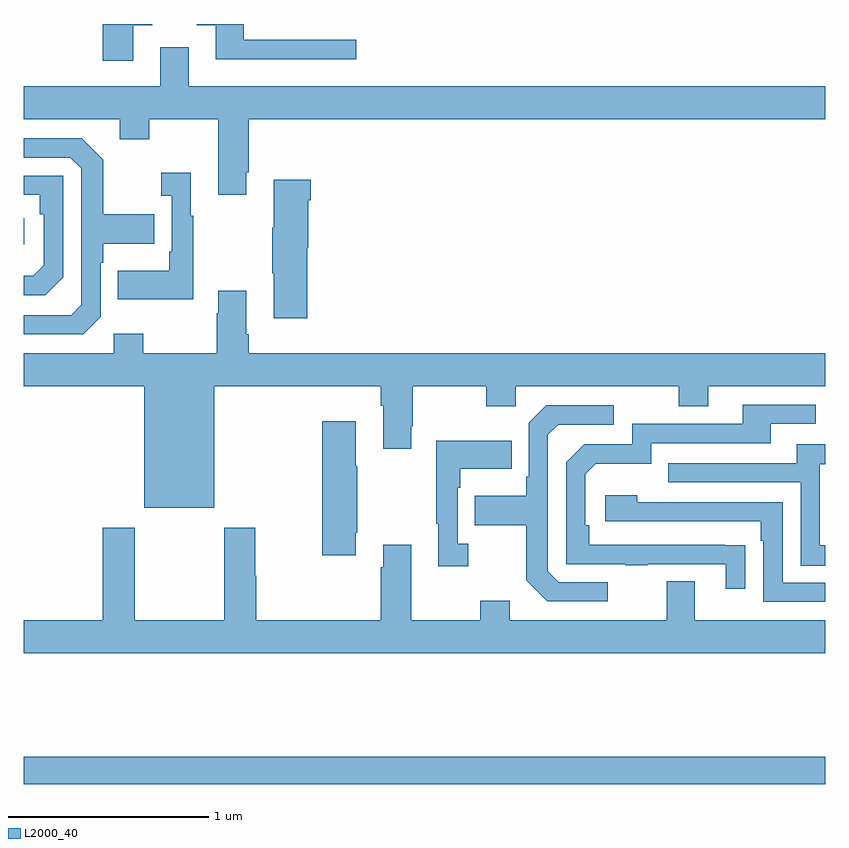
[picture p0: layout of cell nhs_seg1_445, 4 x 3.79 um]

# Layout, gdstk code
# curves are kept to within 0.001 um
import gdstk
lib = gdstk.Library(unit=1e-6, precision=1e-09)
def R(c, l, rs):  # rectangles x0, y0, x1, y1
    for r in rs: c.add(gdstk.rectangle(r[:2], r[2:], *l))
def P(c, l, *ps):  # polygons
    for p in ps: c.add(gdstk.Polygon(p, *l))
L2000_40 = (2000, 40)

nhs_seg1_445 = lib.new_cell('nhs_seg1_445')
R(nhs_seg1_445, L2000_40, [(135,556.408,139,556.544), (135,559.1,135.004,559.23)])
P(nhs_seg1_445, L2000_40, [(136.66,560.121),(136.099,560.121),(136.099,560.199),(135.863,560.199),(135.863,560.193),(135.959,560.193),(135.959,560.024),(136.66,560.024)],
  [(135.547,560.193),(135.643,560.193),(135.643,560.199),(135.395,560.199),(135.395,560.016),(135.547,560.016)],
  [(136.111,559.459),(136.124,559.459),(136.124,559.724),(139,559.724),(139,559.888),(135.823,559.888),(135.823,560.083),(135.683,560.083),(135.683,559.888),(135,559.888),(135,559.724),(135.479,559.724),(135.479,559.625),(135.627,559.625),(135.627,559.724),(135.971,559.724),(135.971,559.347),(136.111,559.347)],
  [(135.384,558.738),(135.384,559.007),(135.397,559.007),(135.397,559.103),(135.653,559.103),(135.653,559.251),(135.397,559.251),(135.397,559.523),(135.291,559.629),(135,559.629),(135,559.533),(135.234,559.533),(135.288,559.479),(135.288,558.798),(135.237,558.747),(135,558.747),(135,558.651),(135.297,558.651)],
  [(135.847,559.243),(135.835,559.243),(135.835,559.456),(135.687,559.456),(135.687,559.343),(135.738,559.343),(135.738,559.063),(135.726,559.063),(135.726,558.967),(135.469,558.967),(135.469,558.827),(135.847,558.827)],
  [(135.198,558.936),(135.198,559.443),(135,559.443),(135,559.347),(135.082,559.347),(135.082,559.25),(135.102,559.25),(135.102,558.996),(135.049,558.943),(135,558.943),(135,558.846),(135.108,558.846)],
  [(136.415,559.083),(136.42,559.083),(136.42,559.319),(136.433,559.319),(136.433,559.423),(136.247,559.423),(136.247,559.183),(136.24,559.183),(136.24,558.955),(136.247,558.955),(136.247,558.732),(136.415,558.732)],
  [(135.952,558.392),(136.781,558.392),(136.781,558.296),(136.793,558.296),(136.793,558.081),(136.933,558.081),(136.933,558.193),(136.941,558.193),(136.941,558.392),(137.308,558.392),(137.308,558.293),(137.454,558.293),(137.454,558.392),(138.268,558.392),(138.268,558.293),(138.415,558.293),(138.415,558.392),(139,558.392),(139,558.556),(136.124,558.556),(136.124,558.652),(136.111,558.652),(136.111,558.868),(135.971,558.868),(135.971,558.755),(135.964,558.755),(135.964,558.556),(135.597,558.556),(135.597,558.655),(135.45,558.655),(135.45,558.556),(135,558.556),(135,558.392),(135.602,558.392),(135.602,557.786),(135.952,557.786)],
  [(138.599,557.6),(137.822,557.601),(137.822,557.698),(137.802,557.698),(137.802,557.952),(137.855,558.005),(138.132,558.005),(138.132,558.108),(138.727,558.108),(138.727,558.204),(138.952,558.204),(138.952,558.3),(138.587,558.3),(138.587,558.204),(138.036,558.204),(138.036,558.102),(137.796,558.102),(137.706,558.012),(137.706,557.505),(138.001,557.505),(138.001,557.5),(138.113,557.5),(138.113,557.505),(138.503,557.505),(138.503,557.382),(138.599,557.382)],
  [(137.914,557.415),(137.67,557.415),(137.616,557.469),(137.616,558.15),(137.667,558.201),(137.944,558.201),(137.944,558.297),(137.607,558.297),(137.52,558.21),(137.52,557.941),(137.508,557.941),(137.508,557.845),(137.251,557.845),(137.251,557.698),(137.508,557.698),(137.508,557.425),(137.613,557.319),(137.914,557.319)],
  [(136.657,557.662),(136.665,557.662),(136.665,557.993),(136.657,557.993),(136.657,558.217),(136.49,558.217),(136.49,557.55),(136.657,557.55)],
  [(137.218,557.606),(137.166,557.606),(137.166,557.885),(137.179,557.885),(137.179,557.981),(137.435,557.981),(137.435,558.121),(137.058,558.121),(137.058,557.705),(137.069,557.705),(137.069,557.493),(137.218,557.493)],
  [(139,557.598),(138.972,557.598),(138.972,558.003),(139,558.003),(139,558.103),(138.857,558.103),(138.857,558.009),(138.217,558.009),(138.217,557.913),(138.876,557.913),(138.876,557.497),(139,557.497)],
  [(139,557.412),(138.786,557.412),(138.786,557.814),(138.062,557.814),(138.062,557.848),(137.901,557.848),(137.901,557.718),(138.677,557.718),(138.677,557.621),(138.69,557.621),(138.69,557.316),(139,557.316)],
  [(139,557.224),(138.349,557.224),(138.349,557.419),(138.209,557.419),(138.209,557.224),(137.425,557.224),(137.425,557.323),(137.278,557.323),(137.278,557.224),(136.933,557.224),(136.933,557.602),(136.793,557.602),(136.793,557.489),(136.781,557.489),(136.781,557.224),(136.16,557.224),(136.16,557.447),(136.155,557.447),(136.155,557.686),(136,557.686),(136,557.224),(135.555,557.224),(135.555,557.686),(135.395,557.686),(135.395,557.224),(135,557.224),(135,557.06),(139,557.06)])

lib.write_gds('nhs_seg1_445.gds')
